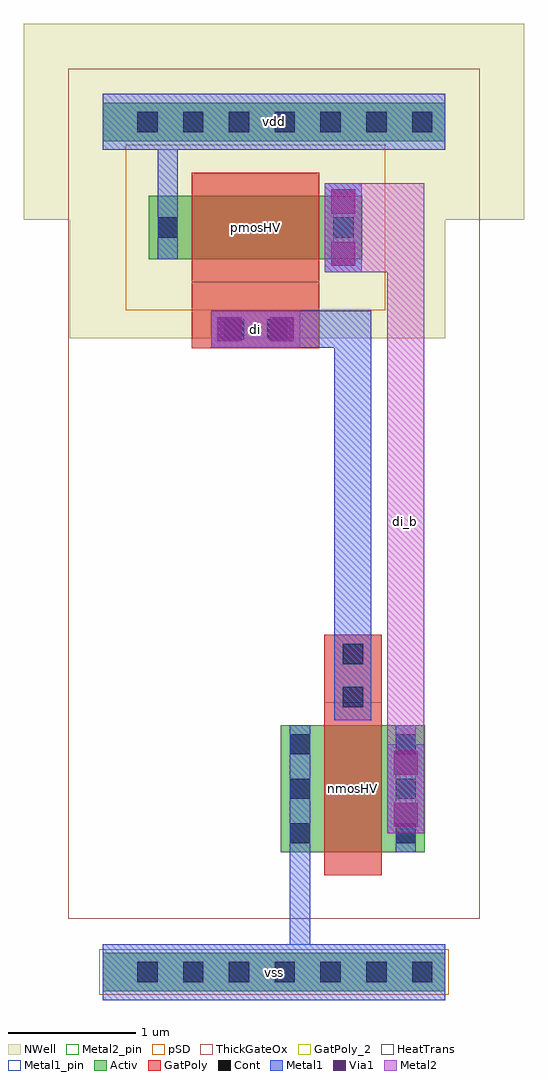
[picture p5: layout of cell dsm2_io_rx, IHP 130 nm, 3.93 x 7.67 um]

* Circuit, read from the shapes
.subckt dsm2_io_rx di di_b vdd vss
XM1 di_b di vss vss sg13_hv_nmos w=1u l=0.45u
XM2 di_b di vdd vdd sg13_hv_pmos w=0.5u l=1u
.ends

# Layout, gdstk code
import gdstk
lib = gdstk.Library(unit=1e-6, precision=1e-09)
def R(c, l, rs):  # rectangles x0, y0, x1, y1
    for r in rs: c.add(gdstk.rectangle(r[:2], r[2:], *l))
def A(c, l, x, y, w, h, nx, ny, dx, dy):  # array of equal rectangles
    R(c, l, [(x+i*dx, y+j*dy, x+i*dx+w, y+j*dy+h) for i in range(nx) for j in range(ny)])
Activ = (1, 0)
GatPoly = (5, 0)
GatPoly_2 = (5, 2)
Cont = (6, 0)
Metal1 = (8, 0)
Metal1_pin = (8, 2)
Metal2 = (10, 0)
Metal2_pin = (10, 2)
pSD = (14, 0)
Via1 = (19, 0)
NWell = (31, 0)
ThickGateOx = (44, 0)
HeatTrans = (51, 0)

dsm2_io_rx = lib.new_cell('dsm2_io_rx')
R(dsm2_io_rx, Activ, [(0,-0.15,2.69,0.15), (1.4,0.94,1.7,1.24), (1.4,0.94,2.53,1.94), (2.23,0.94,2.53,1.24), (0.36,5.6,0.66,5.9), (0.36,5.6,2.04,6.1), (1.74,5.6,2.04,5.9), (0,6.53,2.69,6.83)])
R(dsm2_io_rx, GatPoly, [(1.74,0.76,2.19,2.12), (1.74,1.94,2.19,2.65), (0.7,4.9,1.7,5.5), (0.7,5.42,1.7,6.28)])
R(dsm2_io_rx, GatPoly_2, [(1.74,0.76,2.19,2.12), (0.7,5.42,1.7,6.28)])
A(dsm2_io_rx, Cont, 0.27, -0.08, 0.16, 0.16, 7, 2, 0.36, 6.68)
A(dsm2_io_rx, Cont, 1.47, 1.01, 0.16, 0.16, 1, 3, 0, 0.35)
A(dsm2_io_rx, Cont, 2.3, 1.01, 0.16, 0.16, 1, 3, 0, 0.35)
R(dsm2_io_rx, Cont, [(1.885,2.08,2.045,2.24), (1.885,2.42,2.045,2.58), (0.95,4.97,1.11,5.13), (1.29,4.97,1.45,5.13), (0.43,5.77,0.59,5.93), (1.81,5.77,1.97,5.93)])
R(dsm2_io_rx, Metal1, [(0,-0.22,2.69,0.22), (0,-0.22,2.69,0.22), (1.47,-0.22,1.63,0.94), (1.47,0.94,1.63,1.94), (2.3,0.94,2.46,1.94), (2.235,1.09,2.525,1.79), (1.82,1.98,2.11,2.68), (1.82,1.98,2.11,5.195), (0.85,4.905,1.55,5.195), (0.85,4.905,1.55,5.195), (0.85,4.905,2.11,5.195), (1.745,5.5,2.035,6.2), (0.43,5.6,0.59,6.1), (1.81,5.6,1.97,6.1), (0.43,6.1,0.59,6.9), (0,6.46,2.69,6.9), (0,6.46,2.69,6.9)])
R(dsm2_io_rx, Metal1_pin, [(0,-0.22,2.69,0.22), (1.47,0.94,1.63,1.94), (2.3,0.94,2.46,1.94), (0.43,5.6,0.59,6.1), (1.81,5.6,1.97,6.1), (0,6.46,2.69,6.9)])
R(dsm2_io_rx, Metal2, [(2.235,1.09,2.525,1.79), (2.235,1.09,2.525,5.995), (2.235,1.09,2.525,5.995), (0.85,4.905,1.55,5.195), (0.85,4.905,1.55,5.195), (1.745,5.5,2.035,6.2), (1.745,5.5,2.525,6.2)])
R(dsm2_io_rx, Metal2_pin, [(2.235,1.09,2.525,5.995), (0.85,4.905,1.55,5.195), (1.745,5.5,2.525,6.2)])
R(dsm2_io_rx, pSD, [(-0.03,-0.18,2.72,0.18), (0.18,5.2,2.22,6.5)])
R(dsm2_io_rx, Via1, [(2.285,1.14,2.475,1.33), (2.285,1.55,2.475,1.74), (0.9,4.955,1.09,5.145), (1.31,4.955,1.5,5.145), (1.795,5.55,1.985,5.74), (1.795,5.96,1.985,6.15)])
R(dsm2_io_rx, NWell, [(-0.26,4.98,2.69,6.68), (-0.26,4.98,2.66,6.72), (-0.62,5.91,3.31,7.45)])
R(dsm2_io_rx, ThickGateOx, [(-0.27,0.42,2.96,6.68), (1.13,0.42,2.8,2.46), (-0.26,4.98,2.66,6.72), (-0.27,6.26,2.96,7.1)])
R(dsm2_io_rx, HeatTrans, [(1.74,0.76,2.19,2.12), (0.7,5.42,1.7,6.28)])
dsm2_io_rx.add(gdstk.Label('nmosHV', (1.965,1.44), layer=63, texttype=0))
dsm2_io_rx.add(gdstk.Label('pmosHV', (1.2,5.85), layer=63, texttype=0))
dsm2_io_rx.add(gdstk.Label('nmosHV', (1.965,1.44), layer=51, texttype=0))
dsm2_io_rx.add(gdstk.Label('pmos', (1.2,5.85), layer=51, texttype=0))
dsm2_io_rx.add(gdstk.Label('vss', (1.345,0), layer=8, texttype=25))
dsm2_io_rx.add(gdstk.Label('vdd', (1.345,6.68), layer=8, texttype=25))
dsm2_io_rx.add(gdstk.Label('di', (1.2,5.05), layer=10, texttype=25))
dsm2_io_rx.add(gdstk.Label('di_b', (2.38,3.54), layer=10, texttype=25))

lib.write_gds('dsm2_io_rx.gds')
